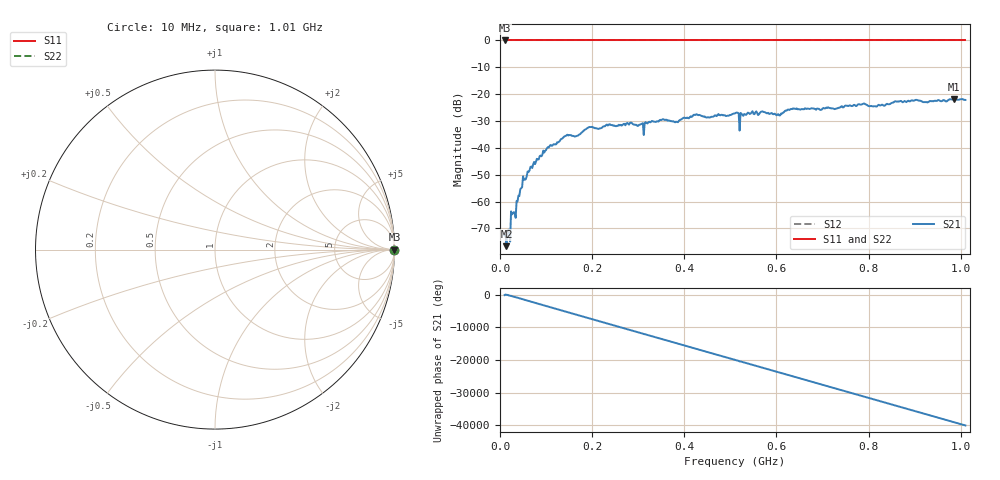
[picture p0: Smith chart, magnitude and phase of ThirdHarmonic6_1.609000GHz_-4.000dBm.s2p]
! 8/16/2025 7:11:37 PM
! C:\ANRITSUVNA\TEMP\TEMP.S2P
! CHANNEL.1
! TR.MEASUREMENT
! RAW.DATA
! RF.CORRECTION.OFF
! AVERAGING.OFF
! IF.BANDWIDTH: 5KHZ
! SWEEPTYPE:  FREQ.SWEEP(Linear)
! Reference Plane Port Info
! PORT:  PORT1  PORT2
! DISTANCE:  0  m  0  m
! TIME:  0  s  0  s
! PHASE.OFFSET:  0  deg.  0  deg.
! LOSS:  0  dB  0  dB
! REF.LOSS:  0  dB  0  dB
! REF.FREQ:  0  Hz  0  Hz
! Power Info
! POWER:  -20  dBm  -20  dBm
! EFF.POWER:  -20  dBm  -20  dBm
! SOURCE.ATTEN:  0  dB  0  dB
! TEST.ATTEN:  0  dB  0  dB
# GHZ S RI R 50.0
! FREQ.GHZ  S11RE  S11IM  S21RE  S21IM  S12RE  S12IM  S22RE  S22IM
!; PortSelection: Port_12
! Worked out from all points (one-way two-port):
!   501 points, 10 MHz to 1.01 GHz, reference 50 ohm
!   highest |S21| = -21.77 dB at 986 MHz (marker M1); lowest = -76.6 dB at 14 MHz (marker M2)
!   lowest |S11| = 0.0 dB at 10 MHz (marker M3)
!   |S11| at or under -10 dB: nowhere
!   |S22| runs from 0.0 to 0.0 dB; largest |S21 - S12| = 1.1
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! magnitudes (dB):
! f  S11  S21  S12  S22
! 10 MHz  0.0  -72.5  0.0  0.0
! 14 MHz  0.0  -76.6  0.0  0.0
! 18 MHz  0.0  -70.5  0.0  0.0
! 28 MHz  0.0  -64.4  0.0  0.0
! 34 MHz  0.0  -66.0  0.0  0.0
! 48 MHz  0.0  -54.6  0.0  0.0
! 70 MHz  0.0  -47.5  0.0  0.0
! 106 MHz  0.0  -39.8  0.0  0.0
! 142 MHz  0.0  -35.6  0.0  0.0
! 178 MHz  0.0  -34.2  0.0  0.0
! 196 MHz  0.0  -32.2  0.0  0.0
! 308 MHz  0.0  -31.0  0.0  0.0
! 344 MHz  0.0  -30.2  0.0  0.0
! 510 MHz  0.0  -27.2  0.0  0.0
! 524 MHz  0.0  -27.3  0.0  0.0
! 544 MHz  0.0  -27.2  0.0  0.0
! 604 MHz  0.0  -27.5  0.0  0.0
! 634 MHz  0.0  -25.6  0.0  0.0
! 678 MHz  0.0  -25.3  0.0  0.0
! 844 MHz  0.0  -23.8  0.0  0.0
! 986 MHz  0.0  -21.8  0.0  0.0
! 1.01 GHz  0.0  -22.1  0.0  0.0
